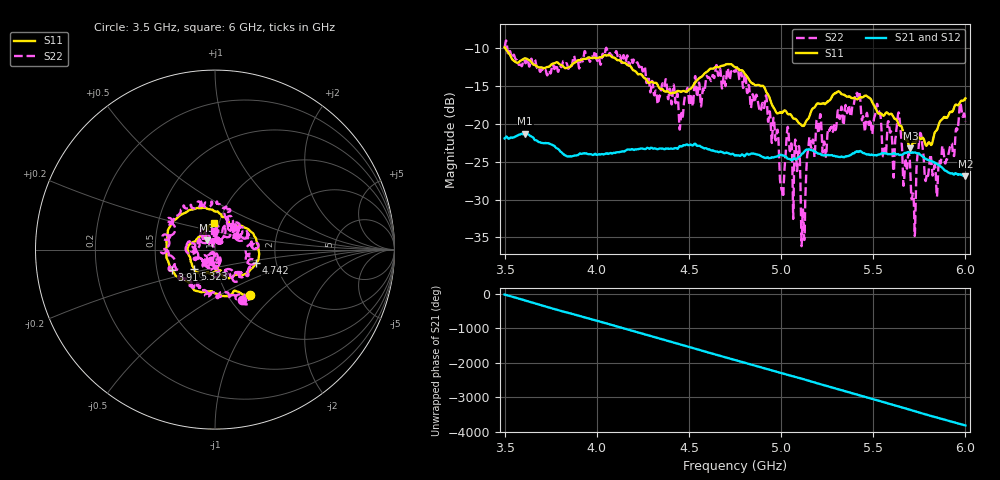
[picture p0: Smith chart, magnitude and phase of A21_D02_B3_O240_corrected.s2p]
! Created with skrf 1.9.0 (http://scikit-rf.org).
# Hz S RI R 50.0
!freq ReS11 ImS11 ReS21 ImS21 ReS12 ImS12 ReS22 ImS22
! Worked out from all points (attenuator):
!   1601 points, 3.5 GHz to 6 GHz, reference 50 ohm
!   highest |S21| = -21.30 dB at 3.611 GHz (marker M1); lowest = -26.9 dB at 6 GHz (marker M2)
!   lowest |S11| = -23.2 dB at 5.702 GHz (marker M3), VSWR 1.15, Z = 45.4 + j4.69 ohm
!   |S11| at or under -10 dB: 3.503 GHz to end of sweep
!   |S22| runs from -36.2 to -9.0 dB; largest |S21 - S12| = 0.00098
!   S11 on the Smith chart (normalised r, x): 3.5 GHz: 1.26, -0.71; 3.919 GHz: 0.60, -0.15; 4.742 GHz: 1.56, -0.25; 5.323 GHz: 0.78, -0.17; 6 GHz: 0.95, +0.28
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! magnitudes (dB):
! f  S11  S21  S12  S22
! 3.5 GHz  -9.9  -21.9  -21.9  -10.0
! 3.611 GHz  -11.4  -21.3  -21.3  -11.9
! 3.917 GHz  -11.6  -24.0  -24.0  -11.4
! 3.919 GHz  -11.6  -24.0  -24.0  -11.5
! 4.334 GHz  -15.1  -23.3  -23.3  -17.1
! 4.458 GHz  -15.8  -23.0  -23.0  -18.7
! 4.742 GHz  -12.4  -24.0  -24.0  -13.2
! 4.75 GHz  -12.5  -24.2  -24.1  -13.0
! 4.927 GHz  -16.0  -24.4  -24.4  -18.6
! 5.005 GHz  -18.5  -24.1  -24.1  -28.8
! 5.036 GHz  -18.7  -24.6  -24.5  -20.4
! 5.088 GHz  -19.6  -24.6  -24.5  -26.2
! 5.119 GHz  -20.3  -23.9  -23.8  -31.3
! 5.167 GHz  -18.1  -23.5  -23.5  -22.8
! 5.323 GHz  -16.0  -24.4  -24.3  -18.4
! 5.584 GHz  -18.7  -24.0  -24.0  -19.8
! 5.639 GHz  -20.1  -24.1  -24.0  -18.6
! 5.702 GHz  -23.2  -23.8  -23.8  -26.5
! 5.719 GHz  -22.4  -23.8  -23.7  -29.7
! 5.753 GHz  -22.0  -24.1  -24.0  -21.4
! 5.839 GHz  -21.0  -25.2  -25.1  -26.5
! 6 GHz  -16.6  -26.9  -26.9  -19.7
